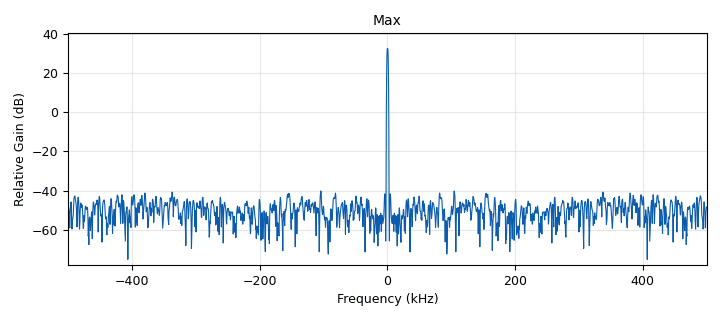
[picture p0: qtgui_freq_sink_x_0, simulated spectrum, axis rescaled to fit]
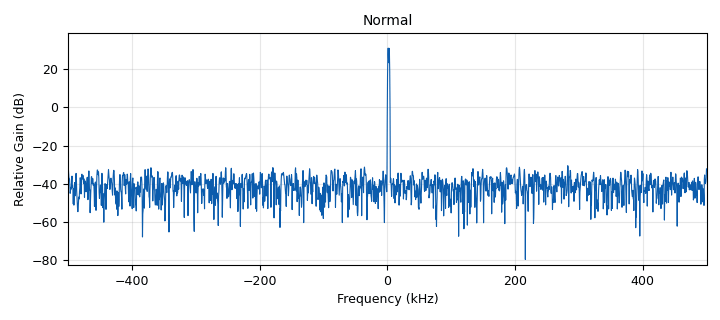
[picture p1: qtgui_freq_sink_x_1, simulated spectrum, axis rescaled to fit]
<?xml version='1.0' encoding='utf-8'?>
<?grc format='1' created='3.7.11'?>
<flow_graph>
<block>
<key>options</key>
<param><key>id</key><value>peak_detect_freq_test</value></param>
<param><key>generate_options</key><value>qt_gui</value></param>
</block>
<block>
<key>variable</key>
<param><key>id</key><value>samp_rate</value></param>
<param><key>value</key><value>1e6</value></param>
</block>
<block>
<key>analog_noise_source_x</key>
<param><key>id</key><value>analog_noise_source_x_0</value></param>
<param><key>amp</key><value>1</value></param>
<param><key>noise_type</key><value>analog.GR_GAUSSIAN</value></param>
<param><key>type</key><value>complex</value></param>
<param><key>seed</key><value>0</value></param>
</block>
<block>
<key>analog_sig_source_x</key>
<param><key>id</key><value>analog_sig_source_x_0</value></param>
<param><key>amp</key><value>100</value></param>
<param><key>freq</key><value>2500</value></param>
<param><key>offset</key><value>0</value></param>
<param><key>type</key><value>complex</value></param>
<param><key>samp_rate</key><value>samp_rate</value></param>
<param><key>waveform</key><value>analog.GR_SIN_WAVE</value></param>
</block>
<block>
<key>analog_sig_source_x</key>
<param><key>id</key><value>analog_sig_source_x_1</value></param>
<param><key>amp</key><value>100</value></param>
<param><key>freq</key><value>1000</value></param>
<param><key>offset</key><value>0</value></param>
<param><key>type</key><value>complex</value></param>
<param><key>samp_rate</key><value>samp_rate</value></param>
<param><key>waveform</key><value>analog.GR_COS_WAVE</value></param>
</block>
<block>
<key>blocks_add_xx</key>
<param><key>id</key><value>blocks_add_xx_0</value></param>
<param><key>type</key><value>complex</value></param>
<param><key>num_inputs</key><value>3</value></param>
</block>
<block>
<key>blocks_max_xx</key>
<param><key>id</key><value>blocks_max_xx_0</value></param>
<param><key>type</key><value>float</value></param>
<param><key>vlen</key><value>4096</value></param>
<param><key>vlen_out</key><value>1</value></param>
</block>
<block>
<key>blocks_stream_to_vector</key>
<param><key>id</key><value>blocks_stream_to_vector_0</value></param>
<param><key>type</key><value>complex</value></param>
<param><key>num_items</key><value>2048</value></param>
</block>
<block>
<key>blocks_throttle</key>
<param><key>id</key><value>blocks_throttle_0</value></param>
<param><key>samples_per_second</key><value>samp_rate</value></param>
<param><key>type</key><value>complex</value></param>
</block>
<block>
<key>qtgui_freq_sink_x</key>
<param><key>id</key><value>qtgui_freq_sink_x_0</value></param>
<param><key>bw</key><value>samp_rate</value></param>
<param><key>fc</key><value>500</value></param>
<param><key>fftsize</key><value>2048</value></param>
<param><key>grid</key><value>True</value></param>
<param><key>name</key><value>"Max"</value></param>
<param><key>showports</key><value>True</value></param>
<param><key>type</key><value>float</value></param>
<param><key>wintype</key><value>firdes.WIN_FLATTOP</value></param>
</block>
<block>
<key>qtgui_freq_sink_x</key>
<param><key>id</key><value>qtgui_freq_sink_x_1</value></param>
<param><key>bw</key><value>samp_rate</value></param>
<param><key>fc</key><value>500</value></param>
<param><key>fftsize</key><value>2048</value></param>
<param><key>name</key><value>"Normal"</value></param>
<param><key>showports</key><value>True</value></param>
<param><key>type</key><value>complex</value></param>
<param><key>wintype</key><value>firdes.WIN_BLACKMAN_hARRIS</value></param>
</block>
<connection><source_block_id>analog_noise_source_x_0</source_block_id><sink_block_id>blocks_add_xx_0</sink_block_id><source_key>0</source_key><sink_key>2</sink_key></connection>
<connection><source_block_id>analog_sig_source_x_0</source_block_id><sink_block_id>blocks_add_xx_0</sink_block_id><source_key>0</source_key><sink_key>0</sink_key></connection>
<connection><source_block_id>analog_sig_source_x_1</source_block_id><sink_block_id>blocks_add_xx_0</sink_block_id><source_key>0</source_key><sink_key>1</sink_key></connection>
<connection><source_block_id>blocks_add_xx_0</source_block_id><sink_block_id>blocks_throttle_0</sink_block_id><source_key>0</source_key><sink_key>0</sink_key></connection>
<connection><source_block_id>blocks_max_xx_0</source_block_id><sink_block_id>qtgui_freq_sink_x_0</sink_block_id><source_key>0</source_key><sink_key>0</sink_key></connection>
<connection><source_block_id>blocks_stream_to_vector_0</source_block_id><sink_block_id>blocks_max_xx_0</sink_block_id><source_key>0</source_key><sink_key>0</sink_key></connection>
<connection><source_block_id>blocks_throttle_0</source_block_id><sink_block_id>blocks_stream_to_vector_0</sink_block_id><source_key>0</source_key><sink_key>0</sink_key></connection>
<connection><source_block_id>blocks_throttle_0</source_block_id><sink_block_id>qtgui_freq_sink_x_1</sink_block_id><source_key>0</source_key><sink_key>0</sink_key></connection>
</flow_graph>
